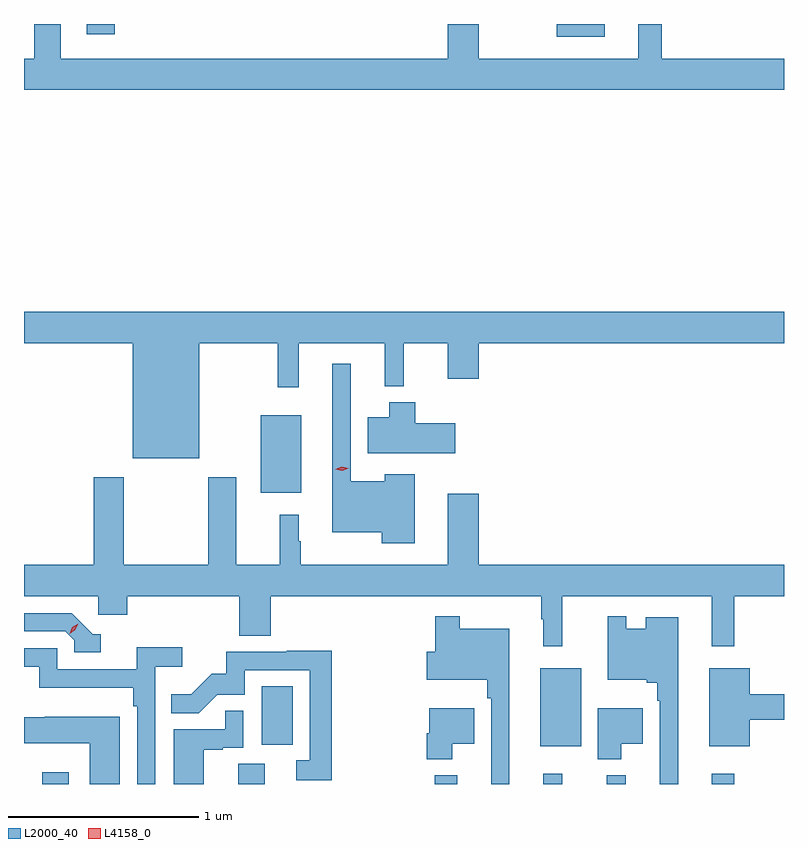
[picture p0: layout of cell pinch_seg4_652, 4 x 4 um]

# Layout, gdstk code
import gdstk
lib = gdstk.Library(unit=1e-6, precision=1e-09)
def R(c, l, rs):  # rectangles x0, y0, x1, y1
    for r in rs: c.add(gdstk.rectangle(r[:2], r[2:], *l))
def P(c, l, *ps):  # polygons
    for p in ps: c.add(gdstk.Polygon(p, *l))
L2000_40 = (2000, 40)
L4158_0 = (4158, 0)

pinch_seg4_652 = lib.new_cell('pinch_seg4_652')
R(pinch_seg4_652, L2000_40, [(1073.963,753.207,1074.103,753.268), (1074.995,753.207,1075.135,753.314), (1076.029,753.207,1076.147,753.253), (1076.6,753.207,1076.7,753.262), (1076.935,753.207,1077.035,753.253), (1077.488,753.207,1077.605,753.262), (1076.585,753.407,1076.8,753.817), (1075.118,753.414,1075.282,753.721), (1075.112,754.739,1075.327,755.149), (1076.672,757.139,1076.923,757.207), (1074.197,757.152,1074.345,757.207)])
P(pinch_seg4_652, L2000_40, [(1076.096,757.207),(1076.096,757.024),(1074.061,757.024),(1074.061,757.207),(1073.921,757.207),(1073.921,757.024),(1073.867,757.024),(1073.867,756.86),(1077.867,756.86),(1077.867,757.024),(1077.223,757.024),(1077.223,757.207),(1077.101,757.207),(1077.101,757.024),(1076.26,757.024),(1076.26,757.207)],
  [(1074.79,755.528),(1075.203,755.528),(1075.203,755.295),(1075.313,755.295),(1075.313,755.528),(1075.766,755.528),(1075.766,755.3),(1075.866,755.3),(1075.866,755.528),(1076.096,755.528),(1076.096,755.34),(1076.26,755.34),(1076.26,755.528),(1077.867,755.528),(1077.867,755.692),(1073.867,755.692),(1073.867,755.528),(1074.44,755.528),(1074.44,754.922),(1074.79,754.922)],
  [(1075.924,754.837),(1075.766,754.837),(1075.766,754.801),(1075.587,754.801),(1075.587,755.419),(1075.49,755.419),(1075.49,754.532),(1075.749,754.532),(1075.749,754.475),(1075.924,754.475)],
  [(1076.137,755.107),(1075.925,755.107),(1075.925,755.215),(1075.79,755.215),(1075.79,755.137),(1075.676,755.137),(1075.676,754.949),(1076.137,754.949)],
  [(1076.7,754.196),(1077.488,754.196),(1077.488,753.933),(1077.605,753.933),(1077.605,754.196),(1077.867,754.196),(1077.867,754.36),(1076.26,754.36),(1076.26,754.735),(1076.096,754.735),(1076.096,754.36),(1075.324,754.36),(1075.324,754.484),(1075.312,754.484),(1075.312,754.624),(1075.213,754.624),(1075.213,754.36),(1074.985,754.36),(1074.985,754.822),(1074.838,754.822),(1074.838,754.36),(1074.393,754.36),(1074.393,754.822),(1074.233,754.822),(1074.233,754.36),(1073.867,754.36),(1073.867,754.196),(1074.258,754.196),(1074.258,754.098),(1074.41,754.098),(1074.41,754.196),(1075.001,754.196),(1075.001,753.988),(1075.166,753.988),(1075.166,754.196),(1076.589,754.196),(1076.589,754.073),(1076.6,754.073),(1076.6,753.933),(1076.7,753.933)],
  [(1074.271,753.996),(1074.228,753.996),(1074.117,754.107),(1073.867,754.107),(1073.867,754.011),(1074.084,754.011),(1074.132,753.963),(1074.132,753.9),(1074.271,753.9)],
  [(1076.422,754.024),(1076.161,754.024),(1076.161,754.09),(1076.032,754.09),(1076.032,753.903),(1075.988,753.903),(1075.988,753.755),(1076.305,753.755),(1076.305,753.659),(1076.325,753.659),(1076.325,753.207),(1076.422,753.207)],
  [(1077.31,754.084),(1077.14,754.084),(1077.14,754.024),(1077.036,754.024),(1077.036,754.09),(1076.94,754.09),(1076.94,753.755),(1077.144,753.755),(1077.144,753.74),(1077.201,753.74),(1077.201,753.644),(1077.213,753.644),(1077.213,753.207),(1077.31,753.207)],
  [(1074.558,753.824),(1074.7,753.824),(1074.7,753.926),(1074.461,753.926),(1074.461,753.81),(1074.042,753.81),(1074.042,753.921),(1073.867,753.921),(1073.867,753.825),(1073.946,753.825),(1073.946,753.713),(1074.442,753.713),(1074.442,753.617),(1074.462,753.617),(1074.462,753.207),(1074.558,753.207)],
  [(1075.487,753.908),(1075.249,753.908),(1075.249,753.903),(1074.931,753.903),(1074.931,753.786),(1074.854,753.786),(1074.747,753.679),(1074.643,753.679),(1074.643,753.58),(1074.787,753.58),(1074.885,753.678),(1075.029,753.678),(1075.029,753.807),(1075.371,753.807),(1075.371,753.333),(1075.299,753.333),(1075.299,753.228),(1075.487,753.228)],
  [(1077.688,753.544),(1077.867,753.544),(1077.867,753.68),(1077.688,753.68),(1077.688,753.817),(1077.473,753.817),(1077.473,753.407),(1077.688,753.407)],
  [(1077.01,753.419),(1077.124,753.419),(1077.124,753.607),(1076.888,753.607),(1076.888,753.338),(1077.01,753.338)],
  [(1076.122,753.419),(1076.236,753.419),(1076.236,753.607),(1076,753.607),(1076,753.474),(1075.988,753.474),(1075.988,753.338),(1076.122,753.338)],
  [(1074.814,753.387),(1074.914,753.387),(1074.914,753.399),(1075.02,753.399),(1075.02,753.593),(1074.925,753.593),(1074.925,753.495),(1074.656,753.495),(1074.656,753.207),(1074.814,753.207)],
  [(1074.37,753.562),(1073.977,753.562),(1073.977,753.559),(1073.869,753.559),(1073.869,753.422),(1074.212,753.422),(1074.212,753.207),(1074.37,753.207)])
P(pinch_seg4_652, L4158_0, [(1074.107,753.998),(1074.107,753.998),(1074.122,754.031),(1074.153,754.051),(1074.153,754.051),(1074.153,754.05),(1074.138,754.018),(1074.107,753.998)],
  [(1075.542,754.856),(1075.505,754.863),(1075.505,754.864),(1075.505,754.864),(1075.54,754.876),(1075.577,754.869),(1075.577,754.869),(1075.577,754.869)])

lib.write_gds('pinch_seg4_652.gds')
